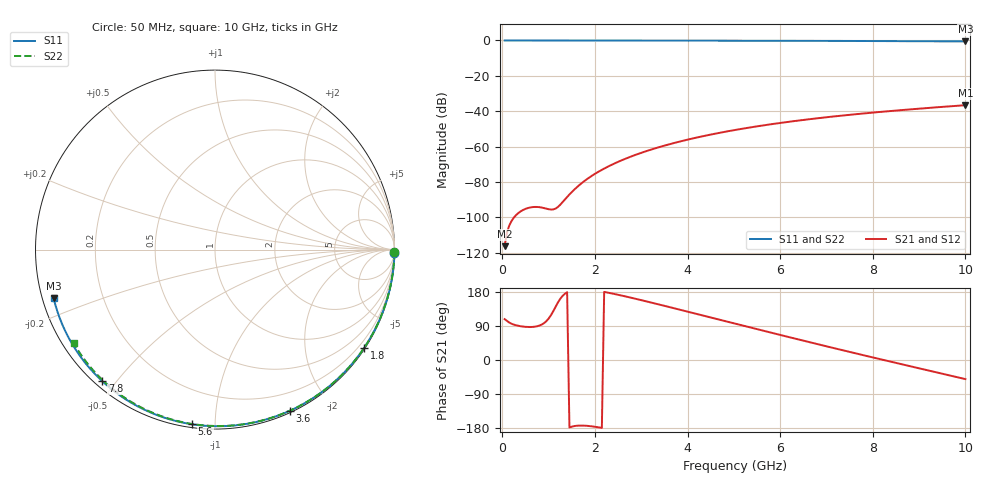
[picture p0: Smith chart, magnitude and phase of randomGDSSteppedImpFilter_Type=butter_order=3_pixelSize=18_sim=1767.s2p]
! freq	dB(S11)	phase(S11)	dB(S12)	phase(S12)
!  dB(S21)	phase(S21)	dB(S22)	phase(S22)
!S-par simulation data
#  GHz  S  DB  R 50
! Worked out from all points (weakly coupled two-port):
!   200 points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, 50 MHz to 10 GHz, reference 50 ohm
!   highest |S21| = -36.59 dB at 10 GHz (marker M1); lowest = -116.3 dB at 50 MHz (marker M2)
!   lowest |S11| = -0.5 dB at 10 GHz (marker M3), VSWR 31.77, Z = 1.61 - j7.35 ohm
!   |S11| at or under -10 dB: nowhere
!   |S22| runs from -0.5 to 0.0 dB; largest |S21 - S12| = 0
!   S11 on the Smith chart (normalised r, x): 50 MHz: open; 1.8 GHz: 0.03, -3.32; 3.6 GHz: 0.02, -1.57; 5.6 GHz: 0.02, -0.88; 7.8 GHz: 0.02, -0.46; 10 GHz: 0.03, -0.15
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0.05  -0.00 -0.9  -116.26 107.8  -116.26 107.8  -0.00 -0.9
0.45  -0.01 -8.5  -95.77 88.1  -95.77 88.1  -0.01 -7.7
0.85  -0.02 -16.0  -94.41 93.4  -94.41 93.4  -0.02 -14.4
1.3  -0.03 -24.3  -91.45 168.8  -91.45 168.8  -0.03 -22.0
1.75  -0.04 -32.6  -79.90 -173.1  -79.90 -173.1  -0.04 -29.4
1.8  -0.04 -33.5  -78.91 -173.4  -78.91 -173.4  -0.04 -30.2
1.95  -0.05 -36.2  -76.22 -175.3  -76.22 -175.3  -0.04 -32.7
2.1  -0.05 -38.9  -73.84 -178.1  -73.84 -178.1  -0.05 -35.2
2.3  -0.05 -42.5  -71.05 177.3  -71.05 177.3  -0.05 -38.4
2.5  -0.06 -46.1  -68.60 172.2  -68.60 172.2  -0.05 -41.6
2.9  -0.07 -53.1  -64.43 160.9  -64.43 160.9  -0.06 -48.0
3.4  -0.08 -61.7  -60.18 146.0  -60.18 146.0  -0.07 -55.8
3.6  -0.09 -65.1  -58.71 139.9  -58.71 139.9  -0.08 -58.9
4.3  -0.11 -76.8  -54.28 118.4  -54.28 118.4  -0.10 -69.5
5.05  -0.14 -88.9  -50.48 95.3  -50.48 95.3  -0.12 -80.6
5.6  -0.16 -97.5  -48.14 78.4  -48.14 78.4  -0.15 -88.4
6.15  -0.19 -105.9  -46.09 61.6  -46.09 61.6  -0.17 -96.1
6.7  -0.22 -114.2  -44.29 45.0  -44.29 45.0  -0.20 -103.6
7.8  -0.30 -130.5  -41.26 12.6  -41.26 12.6  -0.28 -118.2
8.35  -0.35 -138.6  -39.95 -3.3  -39.95 -3.3  -0.32 -125.3
9.2  -0.45 -151.2  -38.14 -27.6  -38.14 -27.6  -0.40 -136.3
10  -0.55 -163.3  -36.59 -50.4  -36.59 -50.4  -0.50 -146.6
